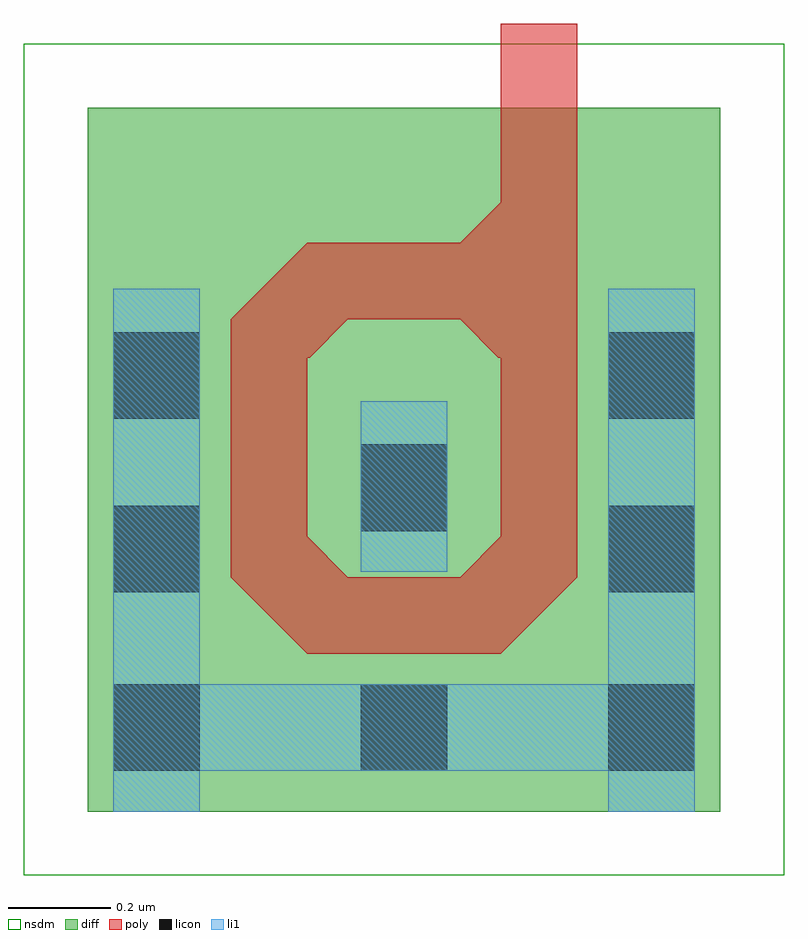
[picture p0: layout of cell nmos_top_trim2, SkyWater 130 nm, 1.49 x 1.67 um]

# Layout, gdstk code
import gdstk
lib = gdstk.Library(unit=1e-6, precision=1e-09)
def R(c, l, rs):  # rectangles x0, y0, x1, y1
    for r in rs: c.add(gdstk.rectangle(r[:2], r[2:], *l))
def A(c, l, x, y, w, h, nx, ny, dx, dy):  # array of equal rectangles
    R(c, l, [(x+i*dx, y+j*dy, x+i*dx+w, y+j*dy+h) for i in range(nx) for j in range(ny)])
def P(c, l, *ps):  # polygons
    for p in ps: c.add(gdstk.Polygon(p, *l))
diff = (65, 20)
poly = (66, 20)
licon = (66, 44)
li1 = (67, 20)
nsdm = (93, 44)

nmos_top_trim2 = lib.new_cell('nmos_top_trim2')
R(nmos_top_trim2, diff, [(0,0,1.24,1.38)])
R(nmos_top_trim2, poly, [(0.43,0.31,0.81,0.46), (0.28,0.46,0.43,0.89), (0.81,0.46,0.96,0.89), (0.28,0.89,0.435,0.965), (0.805,0.89,0.96,0.965), (0.43,0.965,0.96,1.115), (0.81,1.115,0.96,1.545)])
P(nmos_top_trim2, poly, [(0.73,1.115),(0.81,1.115),(0.81,1.195)],
  [(0.28,0.965),(0.43,0.965),(0.43,1.115)],
  [(0.435,0.89),(0.435,0.965),(0.51,0.965)],
  [(0.73,0.965),(0.805,0.965),(0.805,0.89)],
  [(0.43,0.54),(0.43,0.46),(0.51,0.46)],
  [(0.73,0.46),(0.81,0.46),(0.81,0.54)],
  [(0.28,0.46),(0.43,0.46),(0.43,0.31)],
  [(0.81,0.31),(0.81,0.46),(0.96,0.46)])
A(nmos_top_trim2, licon, 0.05, 0.08, 0.17, 0.17, 3, 1, 0.485, 0)
R(nmos_top_trim2, licon, [(0.05,0.43,0.22,0.6), (1.02,0.43,1.19,0.6), (0.535,0.55,0.705,0.72), (0.05,0.77,0.22,0.94), (1.02,0.77,1.19,0.94)])
R(nmos_top_trim2, li1, [(0.05,0,0.22,0.08), (1.02,0,1.19,0.08), (0.05,0.08,1.19,0.25), (0.05,0.25,0.22,1.025), (1.02,0.25,1.19,1.025), (0.535,0.47,0.705,0.805)])
R(nmos_top_trim2, nsdm, [(-0.125,-0.125,1.365,1.505)])

lib.write_gds('nmos_top_trim2.gds')
